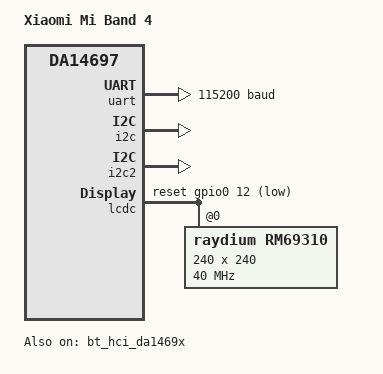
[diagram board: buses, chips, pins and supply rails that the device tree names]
/*
 * Copyright (c) 2022 Renesas Electronics Corporation and/or its affiliates
 * Copyright (c) 2026 Muhammad Waleed Badar
 *
 * SPDX-License-Identifier: Apache-2.0
 */

/dts-v1/;

#include <renesas/smartbond/da14697.dtsi>
#include "mi_band_4-pinctrl.dtsi"

#include <zephyr/dt-bindings/display/panel.h>
#include <zephyr/dt-bindings/gpio/gpio.h>

/ {
	model = "Xiaomi Mi Band 4";
	compatible = "xiaomi,mi-band-4", "renesas,da14697";
	#address-cells = <1>;
	#size-cells = <1>;

	chosen {
		zephyr,sram = &sram0;
		zephyr,flash = &flash0;
		zephyr,console = &uart;
		zephyr,shell-uart = &uart;
		zephyr,code-partition = &slot0_partition;
		zephyr,bt-hci = &bt_hci_da1469x;
		zephyr,display = &rm69310;
	};
};

&flash0 {
	reg = <0x16000000 DT_SIZE_M(16)>;
	partitions {
		compatible = "fixed-partitions";
		#address-cells = <1>;
		#size-cells = <1>;
		/*
		 * Flash area from 0x0000 to 0x2400 is reserved
		 * for product header added by flasher.
		 */
		boot_partition: partition@2400 {
			label = "mcuboot";
			reg = <0x000002400 0x0000dc00>;
		};

		slot0_partition: partition@10000 {
			label = "image-0";
			reg = <0x00010000 DT_SIZE_K(1024)>;
		};

		slot1_partition: partition@110000 {
			label = "image-1";
			reg = <0x00110000 DT_SIZE_K(1024)>;
		};

		storage_partition: partition@210000 {
			label = "storage";
			reg = <0x00210000 DT_SIZE_K(14272)>;
		};
	};
};

&gpio0 {
	status = "okay";
};

&gpio1 {
	status = "okay";
};

&uart {
	pinctrl-0 = <&uart_default>;
	pinctrl-names = "default";
	current-speed = <115200>;
	status = "okay";
};

&i2c {
	pinctrl-0 = <&i2c_default>;
	pinctrl-1 = <&i2c_sleep>;
	pinctrl-names = "default", "sleep";
	status = "okay";
};

&i2c2 {
	pinctrl-0 = <&i2c2_default>;
	pinctrl-1 = <&i2c2_sleep>;
	pinctrl-names = "default", "sleep";
	status = "okay";
};

&lcdc {
	compatible = "renesas,smartbond-mipi-dbi";
	status = "okay";
	reset-gpios = <&gpio0 12 GPIO_ACTIVE_LOW>;
	pinctrl-0 = <&mipi_dbi_default>;
	pinctrl-1 = <&mipi_dbi_read>;
	pinctrl-2 = <&mipi_dbi_sleep>;
	pinctrl-names = "default", "read", "sleep";
	#address-cells = <1>;
	#size-cells = <0>;

	rm69310: rm69310@0 {
		compatible = "raydium,rm69310";
		reg = <0>;
		mipi-max-frequency = <DT_FREQ_M(40)>;
		mipi-mode = "MIPI_DBI_MODE_SPI_4WIRE";
		pixel-format = <PANEL_PIXEL_FORMAT_RGB_565>;
		width  = <240>;
		height = <240>;
	};
};

&bt_hci_da1469x {
	status = "okay";
};
